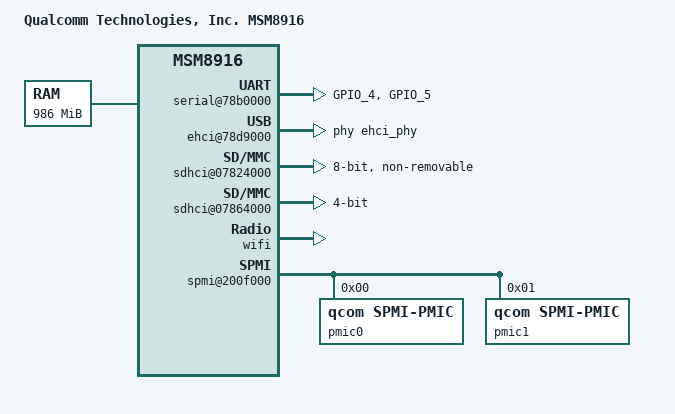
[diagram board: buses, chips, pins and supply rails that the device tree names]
// SPDX-License-Identifier: GPL-2.0+
/*
 * Qualcomm MSM8916 based Wingtech WT88047 phone device tree source
 *
 * (C) Copyright 2021 Joel Selvaraj <jo@jsfamily.in>
 */

/dts-v1/;

#include "skeleton64.dtsi"
#include <dt-bindings/pinctrl/pinctrl-snapdragon.h>

/ {
	model = "Qualcomm Technologies, Inc. MSM8916";
	compatible = "qcom,msm8916-qrd-wt88047", "qcom,msm8916-qrd", "qcom,msm8916", "qcom,qrd";
	qcom,msm-id =	<206 0>, <248 0>, <249 0>, <250 0>;
    qcom,board-id = <0x1000b 7>, <0x1010b 7>, <0x3010b 7>, <0x1000b 12>, <0x1010b 12>, <0x3010b 12>;
	
	#address-cells = <0x2>;
	#size-cells = <0x2>;

	aliases {
		usb0 = "/soc/ehci@78d9000";
	};

	memory {
		device_type = "memory";
		reg = <0 0x80000000 0 0x3da00000>;
	};

	reserved-memory {
		#address-cells = <2>;
		#size-cells = <2>;
		ranges;

		smem_mem: smem_region@86300000 {
			reg = <0x0 0x86300000 0x0 0x100000>;
			no-map;
		};

		cont_splash_mem: splash_region@83000000 {
			reg = <0x0 0x83000000 0x0 0x1400000>;
			no-map;
		};
	};

	chosen {
		stdout-path = "/soc/serial@78b0000";

		framebuffer@fb0 {
			compatible = "simple-framebuffer";
			reg = <0x83000000 (720 * 1280 * 4)>;
			width = <720>;
			height = <1280>;
			stride = <(720 * 4)>;
			format = "a8r8g8b8";
		};
	};

	smem {
		compatible = "qcom,smem";
		memory-region = <&smem_mem>;
		qcom,rpm-msg-ram = <&rpm_msg_ram>;
	};

	soc {
		#address-cells = <0x1>;
		#size-cells = <0x1>;
		ranges = <0x0 0x0 0x0 0xffffffff>;
		compatible = "simple-bus";

		rpm_msg_ram: memory@60000 {
			compatible = "qcom,rpm-msg-ram";
			reg = <0x60000 0x8000>;
		};

		pinctrl: qcom,tlmm@1000000 {
			compatible = "qcom,tlmm-apq8016";
			reg = <0x1000000 0x400000>;

			blsp1_uart: uart {
				function = "blsp1_uart";
				pins = "GPIO_4", "GPIO_5";
				drive-strength = <DRIVE_STRENGTH_8MA>;
				bias-disable;
			};
		};
		clkc: qcom,gcc@1800000 {
			compatible = "qcom,gcc-msm8916";
			reg = <0x1800000 0x80000>;
			#address-cells = <0x1>;
			#size-cells = <0x0>;
		};

		serial@78b0000 {
			compatible = "qcom,msm-uartdm-v1.4";
			reg = <0x78b0000 0x200>;
			clock = <&clkc 4>;
			pinctrl-names = "uart";
			pinctrl-0 = <&blsp1_uart>;
		};

		soc_gpios: pinctrl@1000000 {
			compatible = "qcom,msm8916-pinctrl";
			reg = <0x1000000 0x300000>;
			gpio-controller;
			gpio-count = <122>;
			gpio-bank-name="soc";
			#gpio-cells = <1>;
		};

		ehci@78d9000 {
			compatible = "qcom,ehci-host";
			reg = <0x78d9000 0x400>;
			phys = <&ehci_phy>;
		};

		ehci_phy: ehci_phy@78d9000 {
			compatible = "qcom,apq8016-usbphy";
			reg = <0x78d9000 0x400>;
			#phy-cells = <0>;
		};

		sdhci@07824000 {
			compatible = "qcom,sdhci-msm-v4";
			reg = <0x7824900 0x11c 0x7824000 0x800>;
			bus-width = <0x8>;
			index = <0x0>;
			non-removable;
			clock = <&clkc 0>;
			clock-frequency = <100000000>;
		};

		sdhci@07864000 {
			compatible = "qcom,sdhci-msm-v4";
			reg = <0x7864900 0x11c 0x7864000 0x800>;
			index = <0x1>;
			bus-width = <0x4>;
			clock = <&clkc 1>;
			clock-frequency = <200000000>;
		};

		wcnss {
			bt {
				compatible="qcom,wcnss-bt";
			};

			wifi {
				compatible="qcom,wcnss-wlan";
			};
		};

		spmi@200f000 {
			compatible = "qcom,spmi-pmic-arb";
			reg = <0x200f800 0x200 0x2400000 0x400000 0x2c00000 0x400000>;
			#address-cells = <0x1>;
			#size-cells = <0x1>;
			pmic0: pm8916@0 {
				compatible = "qcom,spmi-pmic";
				reg = <0x0 0x1>;
				#address-cells = <0x1>;
				#size-cells = <0x1>;

				pm8916_pon: pm8916_pon@800 {
					compatible = "qcom,pm8916-pwrkey";
					reg = <0x800 0x96>;
					#gpio-cells = <2>;
					gpio-controller;
				};

				pm8916_gpios: pm8916_gpios@c000 {
					compatible = "qcom,pm8916-gpio";
					reg = <0xc000 0x400>;
					gpio-controller;
					gpio-count = <4>;
					#gpio-cells = <2>;
					gpio-bank-name="pmic";
				};
			};

			pmic1: pm8916@1 {
				compatible = "qcom,spmi-pmic";
				reg = <0x1 0x1>;
			};
		};
	};
};

#include "wt88047-uboot.dtsi"
